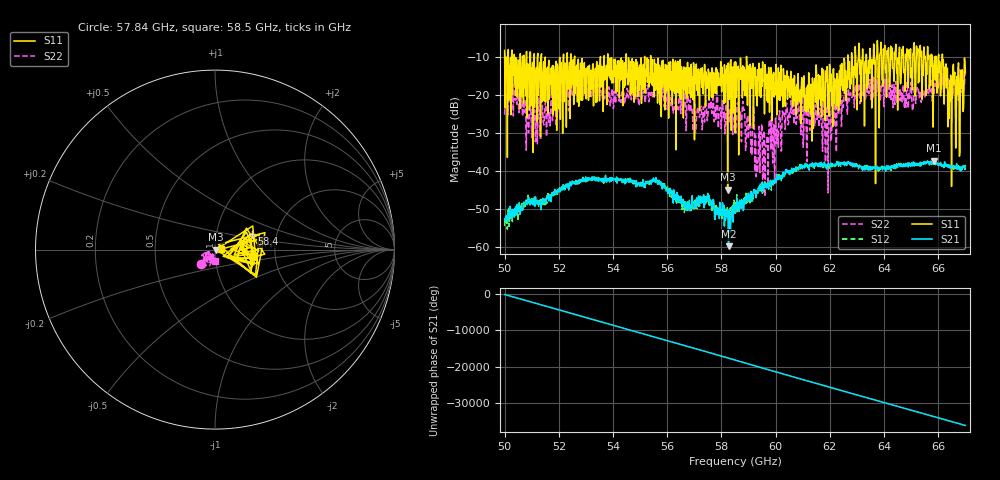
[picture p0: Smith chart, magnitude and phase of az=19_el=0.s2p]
!Created with skrf (http://scikit-rf.org).
# GHz S RI R 50.0
!freq ReS11 ImS11 ReS21 ImS21 ReS12 ImS12 ReS22 ImS22
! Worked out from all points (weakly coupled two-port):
!   1001 points, 50 GHz to 67 GHz, reference 50 ohm
!   highest |S21| = -37.15 dB at 65.84 GHz (marker M1); lowest = -59.7 dB at 58.26 GHz (marker M2)
!   lowest |S11| = -44.8 dB at 58.23 GHz (marker M3), VSWR 1.01, Z = 50.6 + j0.0204 ohm
!   |S11| at or under -10 dB: 52.58 GHz to 53.53 GHz (949.6 MHz wide, 1.79 % of centre); 55.39 GHz to 58.92 GHz (3.534 GHz wide, 6.18 % of centre); 58.93 GHz to 62.66 GHz (3.737 GHz wide, 6.15 % of centre) (the widest 3 of 62)
!   |S22| runs from -46.7 to -13.2 dB; largest |S21 - S12| = 0.0026
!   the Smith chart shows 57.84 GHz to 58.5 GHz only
!   S11 on the Smith chart (normalised r, x): 57.84 GHz: 1.54, -0.12; 58.4 GHz: 1.48, +0.27; 58.5 GHz: 1.07, +0.01
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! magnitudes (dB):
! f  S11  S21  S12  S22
! 50 GHz  -8.2  -52.6  -54.3  -25.1
! 50.15 GHz  -21.3  -50.7  -49.7  -20.9
! 51.14 GHz  -13.9  -46.7  -47.5  -32.2
! 52.84 GHz  -12.2  -42.2  -42.1  -19.8
! 55.68 GHz  -13.4  -42.6  -42.7  -21.1
! 57 GHz  -31.7  -49.7  -49.7  -21.3
! 57.84 GHz  -13.2  -51.4  -49.6  -19.0
! 58.23 GHz  -44.8  -52.0  -50.2  -23.7
! 58.26 GHz  -11.7  -59.7  -52.4  -23.2
! 58.4 GHz  -13.1  -49.2  -49.3  -25.1
! 58.5 GHz  -29.8  -48.8  -51.3  -24.0
! 59.61 GHz  -11.9  -44.2  -43.8  -46.7
! 60.34 GHz  -14.8  -40.8  -40.8  -26.4
! 61.34 GHz  -32.0  -38.4  -38.1  -25.8
! 61.88 GHz  -16.3  -39.4  -38.5  -23.5
! 62.61 GHz  -16.2  -38.1  -37.7  -19.8
! 64.18 GHz  -12.0  -39.1  -39.0  -17.3
! 65.84 GHz  -14.9  -37.1  -37.8  -19.5
! 66.23 GHz  -12.6  -37.5  -38.3  -15.3
! 66.44 GHz  -21.6  -39.1  -38.6  -16.4
! 66.86 GHz  -18.1  -39.0  -39.7  -16.5
! 67 GHz  -14.1  -38.6  -38.3  -14.5
